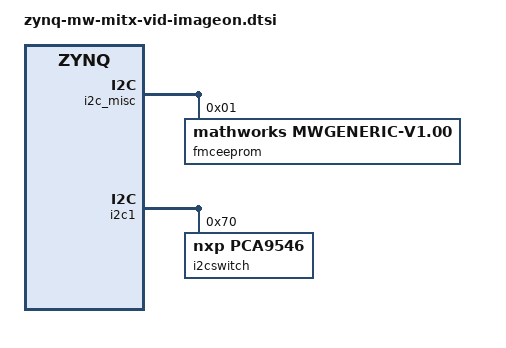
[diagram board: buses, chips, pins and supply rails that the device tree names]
/include/ "zynq-mw-mitx-vid-common.dtsi"
/include/ "zynq-mw-vid-imageon.dtsi"
/{
    i2c_misc {

        fmceeprom {
            compatible = "mathworks,mwgeneric-v1.00";
            reg = <0x1>;    
            mwgen,type = "nomem";            
	        mwgen,devname = "fmceeprom";        
            i2c-controller = <&fmc_eeprom>;
            
        }; 
    };

	amba@0{   
		i2c1: i2c@e0005000 {
			compatible = "xlnx,ps7-i2c-1.00.a";
			reg = <0xE0005000 0x1000>;
			interrupts = <0 48 4>;
			interrupt-parent = <&gic>;
			bus-id = <1>;
			input-clk = <111111111>;
			i2c-clk = <100000>;

			#address-cells = <1>;
			#size-cells = <0>;
            
            i2cswitch@70 {
				compatible = "nxp,pca9546";
				#address-cells = <1>;
				#size-cells = <0>;
				reg = <0x70>;            
            
                fmci2c@1 {
					#address-cells = <1>;
					#size-cells = <0>;
					reg = <1>;
                    
                    fmcadv7511@39 {
						compatible = "adi,adv7511";
						reg = <0x39>;
					};
					
				};
				fmci2c@2 {
					#address-cells = <1>;
					#size-cells = <0>;
					reg = <2>;

					hdmirx_i2c: fmcadv7611@4C {
						compatible = "adi,adv7611";
						reg = <0x4C>;
					};

				};
                fmci2c@3 {
					#address-cells = <1>;
					#size-cells = <0>;
					reg = <3>;
					
                    fmcgpio_i2c: fmcgpio@20 {
						compatible = "nxp,xxxpca9534";
						reg = <0x20>;
					};
				};
            };
		};
	};
};

